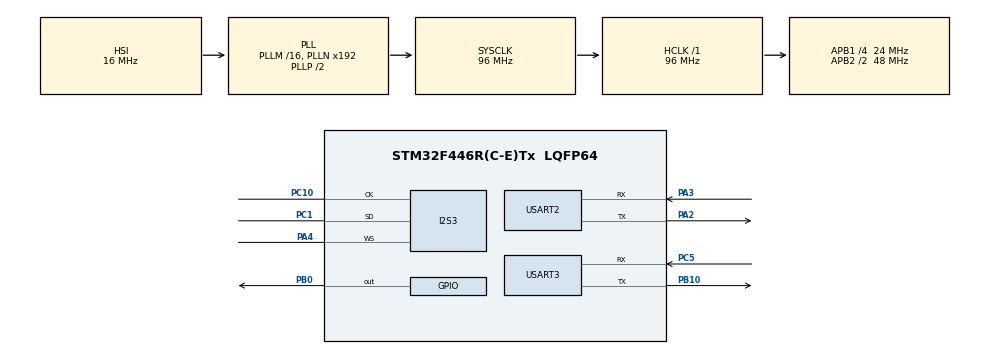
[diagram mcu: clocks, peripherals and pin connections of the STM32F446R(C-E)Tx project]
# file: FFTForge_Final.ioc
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Dma.Request0=SPI3_RX
Dma.SPI3_RX.0.Direction=DMA_PERIPH_TO_MEMORY
Dma.SPI3_RX.0.FIFOMode=DMA_FIFOMODE_DISABLE
Dma.SPI3_RX.0.Instance=DMA1_Stream0
Dma.SPI3_RX.0.MemDataAlignment=DMA_MDATAALIGN_HALFWORD
Dma.SPI3_RX.0.MemInc=DMA_MINC_ENABLE
Dma.SPI3_RX.0.Mode=DMA_NORMAL
Dma.SPI3_RX.0.PeriphDataAlignment=DMA_PDATAALIGN_HALFWORD
Dma.SPI3_RX.0.PeriphInc=DMA_PINC_DISABLE
Dma.SPI3_RX.0.Priority=DMA_PRIORITY_LOW
FREERTOS.Queues01=audioQueue,2,uint8_t,0,Dynamic,NULL,NULL;spectrumQueue,2,uint8_t,0,Dynamic,NULL,NULL
FREERTOS.Tasks01=InputTask,0,128,StartInputTask,Default,NULL,Dynamic,NULL,NULL;ProcessingTask,0,512,StartProcessingTask,Default,NULL,Dynamic,NULL,NULL;TransmissionTas,0,128,StartTransmissionTask,Default,NULL,Dynamic,NULL,NULL;LedTask,-3,128,StartLedTask,Default,NULL,Dynamic,NULL,NULL
FREERTOS.configUSE_NEWLIB_REENTRANT=1
I2S3.AudioFreq=I2S_AUDIOFREQ_16K
I2S3.ErrorAudioFreq=-0.26 %
I2S3.FullDuplexMode=I2S_FULLDUPLEXMODE_DISABLE
I2S3.Instance=SPI$Index
I2S3.Mode=I2S_MODE_MASTER_RX
I2S3.RealAudioFreq=15.957 KHz
I2S3.VirtualMode=I2S_MODE_MASTER
Mcu.Family=STM32F4
Mcu.Name=STM32F446R(C-E)Tx
Mcu.Package=LQFP64
NVIC.DMA1_Stream0_IRQn=true\:5\:0\:false\:false\:true\:true\:false\:true\:true
NVIC.PriorityGroup=NVIC_PRIORITYGROUP_4
NVIC.TIM1_UP_TIM10_IRQn=true\:15\:0\:false\:false\:true\:false\:false\:true\:true
NVIC.TimeBase=TIM1_UP_TIM10_IRQn
NVIC.TimeBaseIP=TIM1
PA13.Mode=Serial_Wire
PA13.Signal=SYS_JTMS-SWDIO
PA14.Mode=Serial_Wire
PA14.Signal=SYS_JTCK-SWCLK
PA2.Mode=Asynchronous
PA2.Signal=USART2_TX
PA3.Mode=Asynchronous
PA3.Signal=USART2_RX
PA4.Mode=Half_Duplex_Master
PA4.Signal=I2S3_WS
PB0.Signal=GPIO_Output
PB10.Mode=Asynchronous
PB10.Signal=USART3_TX
PC1.Mode=Half_Duplex_Master
PC1.Signal=I2S3_SD
PC10.Mode=Half_Duplex_Master
PC10.Signal=I2S3_CK
PC5.Mode=Asynchronous
PC5.Signal=USART3_RX
PH0-OSC_IN.Mode=HSE-External-Oscillator
PH0-OSC_IN.Signal=RCC_OSC_IN
PH1-OSC_OUT.Mode=HSE-External-Oscillator
PH1-OSC_OUT.Signal=RCC_OSC_OUT
ProjectManager.HeapSize=0x200
ProjectManager.StackSize=0x400
ProjectManager.TargetToolchain=STM32CubeIDE
RCC.AHBFreq_Value=96000000
RCC.APB1CLKDivider=RCC_HCLK_DIV4
RCC.APB1Freq_Value=24000000
RCC.APB1TimFreq_Value=48000000
RCC.APB2CLKDivider=RCC_HCLK_DIV2
RCC.APB2Freq_Value=48000000
RCC.APB2TimFreq_Value=96000000
RCC.CortexFreq_Value=96000000
RCC.HCLKFreq_Value=96000000
RCC.SYSCLKFreq_VALUE=96000000
RCC.SYSCLKSource=RCC_SYSCLKSOURCE_PLLCLK
RCC.USBFreq_Value=96000000
RCC.VCOOutputFreq_Value=192000000
STMicroelectronics.X-CUBE-ALGOBUILD.1.4.0.LibraryCcDSPOoLibraryJjDSPOoLibrary=true
USART2.VirtualMode=VM_ASYNC
USART3.VirtualMode=VM_ASYNC
VP_FREERTOS_VS_CMSIS_V1.Mode=CMSIS_V1
VP_STMicroelectronics.X-CUBE-ALGOBUILD_VS_DSPOoLibraryJjLibrary_1.4.0_1.4.0.Mode=DSPOoLibraryJjLibrary
VP_SYS_VS_tim1.Mode=TIM1
board=custom

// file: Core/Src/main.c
/* USER CODE BEGIN Header */
/**
  ******************************************************************************
  * @file           : main.c
  * @brief          : Main program body for real-time spectral analysis
  ******************************************************************************
  * @attention
  *
  * Copyright (c) 2025 STMicroelectronics.
  * All rights reserved.
  *
  * This software is licensed under terms that can be found in the LICENSE file
  * in the root directory of this software component.
  * If no LICENSE file comes with this software, it is provided AS-IS.
  *
  ******************************************************************************
  */
/* USER CODE END Header */
#include "main.h"
#include "cmsis_os.h"

/* USER CODE BEGIN Includes */
#include "arm_math.h"
#include <math.h>
/* USER CODE END Includes */

/* USER CODE BEGIN PD */
#define NUM_BINS 128
/* USER CODE END PD */

I2S_HandleTypeDef hi2s3;
DMA_HandleTypeDef hdma_spi3_rx;

UART_HandleTypeDef huart2;
UART_HandleTypeDef huart3;

osThreadId InputTaskHandle;
osThreadId ProcessingTaskHandle;
osThreadId TransmissionTasHandle;
osThreadId LedTaskHandle;
QueueHandle_t audioQueue;
QueueHandle_t spectrumQueue;
/* USER CODE BEGIN PV */
int16_t audioBuffer[2][2048];
uint16_t spectrumBuffer[2][NUM_BINS];
uint8_t uart_tx_buffer[2];
arm_rfft_fast_instance_f32 fftInstance;
/* USER CODE END PV */

void SystemClock_Config(void);
static void MX_GPIO_Init(void);
static void MX_DMA_Init(void);
static void MX_I2S3_Init(void);
static void MX_USART2_UART_Init(void);
static void MX_USART3_UART_Init(void);
void StartInputTask(void const * argument);
void StartProcessingTask(void const * argument);
void StartTransmissionTask(void const * argument);
void StartLedTask(void const * argument);

/* USER CODE BEGIN PFP */
void HAL_I2S_RxCpltCallback(I2S_HandleTypeDef *hi2s);
/* USER CODE END PFP */

int main(void)
{

  /* MCU Configuration--------------------------------------------------------*/

  /* Reset of all peripherals, Initializes the Flash interface and the Systick. */
  HAL_Init();

  /* Configure the system clock */
  SystemClock_Config();

  /* Initialize all configured peripherals */
  MX_GPIO_Init();
  MX_DMA_Init();
  MX_I2S3_Init();
  MX_USART2_UART_Init();
  MX_USART3_UART_Init();

  /* Create the queue(s) */
  /* definition and creation of audioQueue */
  arm_rfft_fast_init_f32(&fftInstance, 2048);

  /* Create FreeRTOS queues */
  audioQueue = xQueueCreate(2, sizeof(uint8_t));
  spectrumQueue = xQueueCreate(2, sizeof(uint8_t));

  /* Create the thread(s) */
  /* definition and creation of InputTask */
  osThreadDef(InputTask, StartInputTask, osPriorityNormal, 0, 128);
  InputTaskHandle = osThreadCreate(osThread(InputTask), NULL);

  /* definition and creation of ProcessingTask */
  osThreadDef(ProcessingTask, StartProcessingTask, osPriorityNormal, 0, 512);
  ProcessingTaskHandle = osThreadCreate(osThread(ProcessingTask), NULL);

  /* definition and creation of TransmissionTas */
  osThreadDef(TransmissionTas, StartTransmissionTask, osPriorityNormal, 0, 128);
  TransmissionTasHandle = osThreadCreate(osThread(TransmissionTas), NULL);

  /* definition and creation of LedTask */
  osThreadDef(LedTask, StartLedTask, osPriorityIdle, 0, 128);
  LedTaskHandle = osThreadCreate(osThread(LedTask), NULL);

  /* Start scheduler */
  osKernelStart();

  /* We should never get here as control is now taken by the scheduler */
  /* Infinite loop */
  while (1)
  {

  }
}

void SystemClock_Config(void)
{
  RCC_OscInitTypeDef RCC_OscInitStruct = {0};
  RCC_ClkInitTypeDef RCC_ClkInitStruct = {0};

  /** Configure the main internal regulator output voltage
  */
  __HAL_RCC_PWR_CLK_ENABLE();
  __HAL_PWR_VOLTAGESCALING_CONFIG(PWR_REGULATOR_VOLTAGE_SCALE3);

  /** Initializes the RCC Oscillators according to the specified parameters
  * in the RCC_OscInitTypeDef structure.
  */
  RCC_OscInitStruct.OscillatorType = RCC_OSCILLATORTYPE_HSI;
  RCC_OscInitStruct.HSIState = RCC_HSI_ON;
  RCC_OscInitStruct.HSICalibrationValue = RCC_HSICALIBRATION_DEFAULT;
  RCC_OscInitStruct.PLL.PLLState = RCC_PLL_ON;
  RCC_OscInitStruct.PLL.PLLSource = RCC_PLLSOURCE_HSI;
  RCC_OscInitStruct.PLL.PLLM = 16;
  RCC_OscInitStruct.PLL.PLLN = 192;
  RCC_OscInitStruct.PLL.PLLP = RCC_PLLP_DIV2;
  RCC_OscInitStruct.PLL.PLLQ = 2;
  RCC_OscInitStruct.PLL.PLLR = 2;
  if (HAL_RCC_OscConfig(&RCC_OscInitStruct) != HAL_OK)
  {
    Error_Handler();
  }

  /** Initializes the CPU, AHB and APB buses clocks
  */
  RCC_ClkInitStruct.ClockType = RCC_CLOCKTYPE_HCLK|RCC_CLOCKTYPE_SYSCLK
                              |RCC_CLOCKTYPE_PCLK1|RCC_CLOCKTYPE_PCLK2;
  RCC_ClkInitStruct.SYSCLKSource = RCC_SYSCLKSOURCE_PLLCLK;
  RCC_ClkInitStruct.AHBCLKDivider = RCC_SYSCLK_DIV1;
  RCC_ClkInitStruct.APB1CLKDivider = RCC_HCLK_DIV4;
  RCC_ClkInitStruct.APB2CLKDivider = RCC_HCLK_DIV2;

  if (HAL_RCC_ClockConfig(&RCC_ClkInitStruct, FLASH_LATENCY_3) != HAL_OK)
  {
    Error_Handler();
  }
}

static void MX_I2S3_Init(void)
{

  hi2s3.Instance = SPI3;
  hi2s3.Init.Mode = I2S_MODE_MASTER_RX;
  hi2s3.Init.Standard = I2S_STANDARD_PHILIPS;
  hi2s3.Init.DataFormat = I2S_DATAFORMAT_16B;
  hi2s3.Init.MCLKOutput = I2S_MCLKOUTPUT_DISABLE;
  hi2s3.Init.AudioFreq = I2S_AUDIOFREQ_16K;
  hi2s3.Init.CPOL = I2S_CPOL_LOW;
  hi2s3.Init.ClockSource = I2S_CLOCK_PLL;
  hi2s3.Init.FullDuplexMode = I2S_FULLDUPLEXMODE_DISABLE;
  if (HAL_I2S_Init(&hi2s3) != HAL_OK)
  {
    Error_Handler();
  }

}

static void MX_USART2_UART_Init(void)
{

  huart2.Instance = USART2;
  huart2.Init.BaudRate = 115200;
  huart2.Init.WordLength = UART_WORDLENGTH_8B;
  huart2.Init.StopBits = UART_STOPBITS_1;
  huart2.Init.Parity = UART_PARITY_NONE;
  huart2.Init.Mode = UART_MODE_TX_RX;
  huart2.Init.HwFlowCtl = UART_HWCONTROL_NONE;
  huart2.Init.OverSampling = UART_OVERSAMPLING_16;
  if (HAL_UART_Init(&huart2) != HAL_OK)
  {
    Error_Handler();
  }

}

static void MX_USART3_UART_Init(void)
{

  huart3.Instance = USART3;
  huart3.Init.BaudRate = 115200;
  huart3.Init.WordLength = UART_WORDLENGTH_8B;
  huart3.Init.StopBits = UART_STOPBITS_1;
  huart3.Init.Parity = UART_PARITY_NONE;
  huart3.Init.Mode = UART_MODE_TX_RX;
  huart3.Init.HwFlowCtl = UART_HWCONTROL_NONE;
  huart3.Init.OverSampling = UART_OVERSAMPLING_16;
  if (HAL_UART_Init(&huart3) != HAL_OK)
  {
    Error_Handler();
  }

}

static void MX_DMA_Init(void)
{

  /* DMA controller clock enable */
  __HAL_RCC_DMA1_CLK_ENABLE();

  /* DMA interrupt init */
  /* DMA1_Stream0_IRQn interrupt configuration */
  HAL_NVIC_SetPriority(DMA1_Stream0_IRQn, 5, 0);
  HAL_NVIC_EnableIRQ(DMA1_Stream0_IRQn);

}

static void MX_GPIO_Init(void)
{
  GPIO_InitTypeDef GPIO_InitStruct = {0};

  /* GPIO Ports Clock Enable */
  __HAL_RCC_GPIOH_CLK_ENABLE();
  __HAL_RCC_GPIOC_CLK_ENABLE();
  __HAL_RCC_GPIOA_CLK_ENABLE();
  __HAL_RCC_GPIOB_CLK_ENABLE();

  /*Configure GPIO pin Output Level */
  HAL_GPIO_WritePin(GPIOB, GPIO_PIN_0, GPIO_PIN_RESET);

  /*Configure GPIO pin : PB0 */
  GPIO_InitStruct.Pin = GPIO_PIN_0;
  GPIO_InitStruct.Mode = GPIO_MODE_OUTPUT_PP;
  GPIO_InitStruct.Pull = GPIO_NOPULL;
  GPIO_InitStruct.Speed = GPIO_SPEED_FREQ_LOW;
  HAL_GPIO_Init(GPIOB, &GPIO_InitStruct);

}

/* USER CODE BEGIN 4 */
void HAL_I2S_RxCpltCallback(I2S_HandleTypeDef *hi2s)
{
  BaseType_t xHigherPriorityTaskWoken = pdFALSE;
  vTaskNotifyGiveFromISR(InputTaskHandle, &xHigherPriorityTaskWoken);
  portYIELD_FROM_ISR(xHigherPriorityTaskWoken);
}
/* USER CODE END 4 */

void StartInputTask(void const *argument)
{
  uint8_t fillIndex = 0;
  for (;;)
  {
    HAL_I2S_Receive_DMA(&hi2s3, (uint16_t *)audioBuffer[fillIndex], 2048);
    ulTaskNotifyTake(pdTRUE, portMAX_DELAY);
    xQueueSend(audioQueue, &fillIndex, portMAX_DELAY);
    HAL_UART_Transmit(&huart3, (uint8_t *)audioBuffer[fillIndex], 20, HAL_MAX_DELAY); // Debug: Send first 10 samples
    fillIndex = 1 - fillIndex;
  }
}

void StartProcessingTask(void const * argument)
{
  /* USER CODE BEGIN StartProcessingTask */
  /* Infinite loop */
	static float32_t input[2048];
	  static float32_t output[2048];
	  uint8_t spectrumIndex = 0;

	  for (;;)
	  {
	    uint8_t processIndex;
	    xQueueReceive(audioQueue, &processIndex, portMAX_DELAY);

	    for (int i = 0; i < 2048; i++)
	    {
	      input[i] = (float32_t)audioBuffer[processIndex][i];
	    }

	    /* Perform real FFT */
	    arm_rfft_fast_f32(&fftInstance, input, output, 0);

	    for (int group = 0; group < NUM_BINS; group++)
	    {
	      float32_t sum = 0;
	      for (int j = 0; j < 8; j++)
	      {
	        int k = group * 8 + j;
	        float32_t mag;
	        if (k == 0)
	        {
	          mag = fabsf(output[0]);
	        }
	        else if (k == 1024)
	        {
	          mag = fabsf(output[1]);
	        }
	        else
	        {
	          float32_t real = output[2 * k];
	          float32_t imag = output[2 * k + 1];
	          mag = sqrtf(real * real + imag * imag);
	        }
	        sum += mag;
	      }
	      sum /= 8;

	      uint32_t val = (uint32_t)(sum * 0.1f);
	      if (val > 65535) val = 65535;
	      spectrumBuffer[spectrumIndex][group] = (uint16_t)val;
	    }

	    HAL_UART_Transmit(&huart3, (uint8_t *)spectrumBuffer[spectrumIndex], 20, HAL_MAX_DELAY); // Debug: Send first 10 bins
	    xQueueSend(spectrumQueue, &spectrumIndex, portMAX_DELAY);
	    spectrumIndex = 1 - spectrumIndex;
	  }
  /* USER CODE END StartProcessingTask */
}

void StartTransmissionTask(void const * argument)
{
  /* USER CODE BEGIN StartTransmissionTask */
  /* Infinite loop */
	  for (;;)
	  {
	    uint8_t txIndex;
	    xQueueReceive(spectrumQueue, &txIndex, portMAX_DELAY);

	    for (int i = 0; i < NUM_BINS; i++)
	    {
	      uint16_t val = spectrumBuffer[txIndex][i];
	      uart_tx_buffer[0] = (val >> 8) & 0xFF;
	      uart_tx_buffer[1] = val & 0xFF;
	      HAL_UART_Transmit(&huart2, uart_tx_buffer, 2, HAL_MAX_DELAY);
	    }
	  }
  /* USER CODE END StartTransmissionTask */
}

void StartLedTask(void const * argument)
{
  /* USER CODE BEGIN StartLedTask */
  /* Infinite loop */
	  for (;;)
	  {
	    HAL_GPIO_TogglePin(GPIOA, GPIO_PIN_5);
	    osDelay(500);
	  }
  /* USER CODE END StartLedTask */
}

void HAL_TIM_PeriodElapsedCallback(TIM_HandleTypeDef *htim)
{
  if (htim->Instance == TIM1) {
    HAL_IncTick();
  }
}

void Error_Handler(void)
{
  __disable_irq();
  while (1)
  {
  }
}
